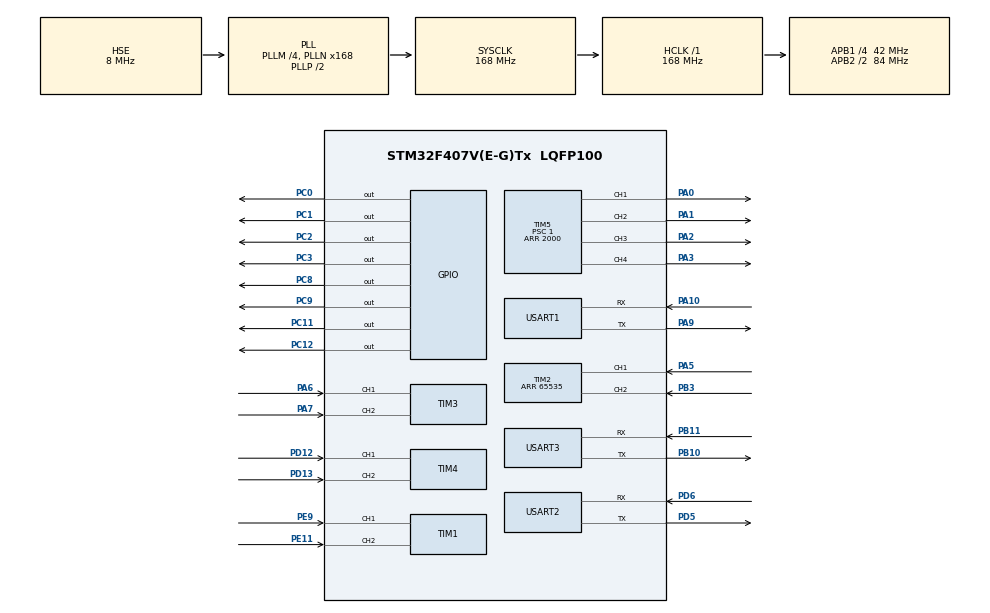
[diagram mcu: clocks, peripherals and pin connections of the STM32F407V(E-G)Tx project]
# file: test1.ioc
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Dma.Request0=USART3_RX
Dma.Request1=USART2_RX
Dma.USART2_RX.1.Direction=DMA_PERIPH_TO_MEMORY
Dma.USART2_RX.1.FIFOMode=DMA_FIFOMODE_DISABLE
Dma.USART2_RX.1.Instance=DMA1_Stream5
Dma.USART2_RX.1.MemDataAlignment=DMA_MDATAALIGN_BYTE
Dma.USART2_RX.1.MemInc=DMA_MINC_ENABLE
Dma.USART2_RX.1.Mode=DMA_NORMAL
Dma.USART2_RX.1.PeriphDataAlignment=DMA_PDATAALIGN_BYTE
Dma.USART2_RX.1.PeriphInc=DMA_PINC_DISABLE
Dma.USART2_RX.1.Priority=DMA_PRIORITY_LOW
Dma.USART3_RX.0.Direction=DMA_PERIPH_TO_MEMORY
Dma.USART3_RX.0.FIFOMode=DMA_FIFOMODE_DISABLE
Dma.USART3_RX.0.Instance=DMA1_Stream1
Dma.USART3_RX.0.MemDataAlignment=DMA_MDATAALIGN_BYTE
Dma.USART3_RX.0.MemInc=DMA_MINC_ENABLE
Dma.USART3_RX.0.Mode=DMA_NORMAL
Dma.USART3_RX.0.PeriphDataAlignment=DMA_PDATAALIGN_BYTE
Dma.USART3_RX.0.PeriphInc=DMA_PINC_DISABLE
Dma.USART3_RX.0.Priority=DMA_PRIORITY_LOW
Mcu.Family=STM32F4
Mcu.Name=STM32F407V(E-G)Tx
Mcu.Package=LQFP100
NVIC.DMA1_Stream1_IRQn=true\:0\:0\:false\:false\:true\:false\:true\:true
NVIC.DMA1_Stream5_IRQn=true\:0\:0\:false\:false\:true\:false\:true\:true
NVIC.PriorityGroup=NVIC_PRIORITYGROUP_4
NVIC.TIM7_IRQn=true\:0\:0\:false\:false\:true\:true\:true\:true
NVIC.USART2_IRQn=true\:0\:0\:false\:false\:true\:true\:true\:true
NVIC.USART3_IRQn=true\:0\:0\:false\:false\:true\:true\:true\:true
PA0-WKUP.Signal=S_TIM5_CH1
PA1.Signal=S_TIM5_CH2
PA10.Mode=Asynchronous
PA10.Signal=USART1_RX
PA2.Signal=S_TIM5_CH3
PA3.Signal=S_TIM5_CH4
PA5.Signal=S_TIM2_CH1_ETR
PA6.Signal=S_TIM3_CH1
PA7.Signal=S_TIM3_CH2
PA9.Mode=Asynchronous
PA9.Signal=USART1_TX
PB10.Mode=Asynchronous
PB10.Signal=USART3_TX
PB11.Mode=Asynchronous
PB11.Signal=USART3_RX
PB3.Signal=S_TIM2_CH2
PC0.GPIO_ModeDefaultOutputPP=GPIO_MODE_OUTPUT_OD
PC0.GPIO_PuPd=GPIO_NOPULL
PC0.Signal=GPIO_Output
PC1.GPIO_ModeDefaultOutputPP=GPIO_MODE_OUTPUT_OD
PC1.GPIO_PuPd=GPIO_NOPULL
PC1.Signal=GPIO_Output
PC11.GPIO_ModeDefaultOutputPP=GPIO_MODE_OUTPUT_OD
PC11.GPIO_PuPd=GPIO_NOPULL
PC11.Signal=GPIO_Output
PC12.GPIO_ModeDefaultOutputPP=GPIO_MODE_OUTPUT_OD
PC12.GPIO_PuPd=GPIO_NOPULL
PC12.Signal=GPIO_Output
PC2.GPIO_ModeDefaultOutputPP=GPIO_MODE_OUTPUT_OD
PC2.GPIO_PuPd=GPIO_NOPULL
PC2.Signal=GPIO_Output
PC3.GPIO_ModeDefaultOutputPP=GPIO_MODE_OUTPUT_OD
PC3.GPIO_PuPd=GPIO_NOPULL
PC3.Signal=GPIO_Output
PC8.GPIO_ModeDefaultOutputPP=GPIO_MODE_OUTPUT_OD
PC8.GPIO_PuPd=GPIO_NOPULL
PC8.Signal=GPIO_Output
PC9.GPIO_ModeDefaultOutputPP=GPIO_MODE_OUTPUT_OD
PC9.GPIO_PuPd=GPIO_NOPULL
PC9.Signal=GPIO_Output
PD12.Signal=S_TIM4_CH1
PD13.Signal=S_TIM4_CH2
PD5.Mode=Asynchronous
PD5.Signal=USART2_TX
PD6.Mode=Asynchronous
PD6.Signal=USART2_RX
PE11.Signal=S_TIM1_CH2
PE9.Signal=S_TIM1_CH1
PH0-OSC_IN.Mode=HSE-External-Oscillator
PH0-OSC_IN.Signal=RCC_OSC_IN
PH1-OSC_OUT.Mode=HSE-External-Oscillator
PH1-OSC_OUT.Signal=RCC_OSC_OUT
ProjectManager.HeapSize=0x200
ProjectManager.StackSize=0x400
ProjectManager.TargetToolchain=MDK-ARM V5.32
RCC.48MHZClocksFreq_Value=84000000
RCC.AHBFreq_Value=168000000
RCC.APB1CLKDivider=RCC_HCLK_DIV4
RCC.APB1Freq_Value=42000000
RCC.APB1TimFreq_Value=84000000
RCC.APB2CLKDivider=RCC_HCLK_DIV2
RCC.APB2Freq_Value=84000000
RCC.APB2TimFreq_Value=168000000
RCC.CortexFreq_Value=168000000
RCC.HCLKFreq_Value=168000000
RCC.HSE_VALUE=8000000
RCC.HSI_VALUE=16000000
RCC.LSE_VALUE=32768
RCC.PLLM=4
RCC.PLLN=168
RCC.PLLSourceVirtual=RCC_PLLSOURCE_HSE
RCC.SYSCLKFreq_VALUE=168000000
RCC.SYSCLKSource=RCC_SYSCLKSOURCE_PLLCLK
RCC.VCOOutputFreq_Value=336000000
SH.S_TIM1_CH1.0=TIM1_CH1,Encoder_Interface
SH.S_TIM1_CH2.0=TIM1_CH2,Encoder_Interface
SH.S_TIM2_CH1_ETR.0=TIM2_CH1,Encoder_Interface
SH.S_TIM2_CH2.0=TIM2_CH2,Encoder_Interface
SH.S_TIM3_CH1.0=TIM3_CH1,Encoder_Interface
SH.S_TIM3_CH2.0=TIM3_CH2,Encoder_Interface
SH.S_TIM4_CH1.0=TIM4_CH1,Encoder_Interface
SH.S_TIM4_CH2.0=TIM4_CH2,Encoder_Interface
SH.S_TIM5_CH1.0=TIM5_CH1,PWM Generation1 CH1
SH.S_TIM5_CH2.0=TIM5_CH2,PWM Generation2 CH2
SH.S_TIM5_CH3.0=TIM5_CH3,PWM Generation3 CH3
SH.S_TIM5_CH4.0=TIM5_CH4,PWM Generation4 CH4
TIM1.EncoderMode=TIM_ENCODERMODE_TI12
TIM2.EncoderMode=TIM_ENCODERMODE_TI12
TIM2.Period=65535
TIM3.EncoderMode=TIM_ENCODERMODE_TI12
TIM4.EncoderMode=TIM_ENCODERMODE_TI12
TIM5.AutoReloadPreload=TIM_AUTORELOAD_PRELOAD_ENABLE
TIM5.Channel-PWM\ Generation1\ CH1=TIM_CHANNEL_1
TIM5.Channel-PWM\ Generation2\ CH2=TIM_CHANNEL_2
TIM5.Channel-PWM\ Generation3\ CH3=TIM_CHANNEL_3
TIM5.Channel-PWM\ Generation4\ CH4=TIM_CHANNEL_4
TIM5.Period=2000
TIM5.Prescaler=1
TIM7.AutoReloadPreload=TIM_AUTORELOAD_PRELOAD_ENABLE
TIM7.Period=200
TIM7.Prescaler=8400
USART1.VirtualMode=VM_ASYNC
USART2.VirtualMode=VM_ASYNC
USART3.VirtualMode=VM_ASYNC
VP_TIM7_VS_ClockSourceINT.Mode=Enable_Timer
board=custom

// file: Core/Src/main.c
/* USER CODE BEGIN Header */
/**
 ******************************************************************************
 * @file           : main.c
 * @brief          : Main program body
 ******************************************************************************
 * @attention
 *
 * Copyright (c) 2022 STMicroelectronics.
 * All rights reserved.
 *
 * This software is licensed under terms that can be found in the LICENSE file
 * in the root directory of this software component.
 * If no LICENSE file comes with this software, it is provided AS-IS.
 *
 ******************************************************************************
 */
/* USER CODE END Header */
#include "main.h"
#include "dma.h"
#include "tim.h"
#include "usart.h"
#include "gpio.h"

/* USER CODE BEGIN Includes */
#include <string.h>
#include <stdio.h>
#include "pid.h"
#include "jy62.h"
#include "zigbee_edc24.h"
#include "map.h"
#include "drive.h"
#include "Dijkstra.h"
#include <math.h>
/* USER CODE END Includes */

/* USER CODE BEGIN PV */
int32_t lastCnt[4], curCnt[4], speed[4];
pid speedPid[6];
float coff = 0.4f;

pid zAnglePid;

extern uint8_t jy62_buff[JY62_BUFFSIZE];
extern struct vec acc, angle, vel;
extern uint32_t height;
extern float g;

enum stateValue
{
	running,
	calibrating,
	stop
};
uint8_t state = stop;

extern uint8_t receive_flag;
/* USER CODE END PV */

void SystemClock_Config(void);
/* USER CODE BEGIN PFP */

void setSpeed(uint8_t idx, double speed);

/* USER CODE END PFP */

int main(void)
{

	/* MCU Configuration--------------------------------------------------------*/

	/* Reset of all peripherals, Initializes the Flash interface and the Systick. */
	HAL_Init();

	/* Configure the system clock */
	SystemClock_Config();

	/* Initialize all configured peripherals */
	MX_GPIO_Init();
	MX_DMA_Init();
	MX_TIM1_Init();
	MX_TIM2_Init();
	MX_TIM3_Init();
	MX_TIM4_Init();
	MX_TIM5_Init();
	MX_USART1_UART_Init();
	MX_USART2_UART_Init();
	MX_USART3_UART_Init();
	MX_TIM7_Init();
	/* USER CODE BEGIN 2 */

	HAL_TIM_PWM_Start(&htim5, TIM_CHANNEL_1);
	HAL_TIM_PWM_Start(&htim5, TIM_CHANNEL_2);
	HAL_TIM_PWM_Start(&htim5, TIM_CHANNEL_3);
	HAL_TIM_PWM_Start(&htim5, TIM_CHANNEL_4);
	HAL_TIM_Encoder_Start(&htim2, TIM_CHANNEL_ALL);
	HAL_TIM_Encoder_Start(&htim3, TIM_CHANNEL_ALL);
	HAL_TIM_Encoder_Start(&htim4, TIM_CHANNEL_ALL);
	HAL_TIM_Encoder_Start(&htim1, TIM_CHANNEL_ALL);

	HAL_TIM_Base_Start_IT(&htim7);

	HAL_UARTEx_ReceiveToIdle_DMA(&huart3, jy62_buff, JY62_BUFFSIZE);

	state = calibrating;
	jy62_init(&huart3);
	// calibrate();
	HAL_Delay(500);
	initAngle();
	HAL_Delay(500);
	state = running;

	pid_init(&speedPid[0], 1.0f, 0.05f, 0.0f);
	pid_init(&speedPid[1], 1.0f, 0.05f, 0.0f);
	pid_init(&speedPid[2], 1.0f, 0.05f, 0.0f);
	pid_init(&speedPid[3], 1.0f, 0.05f, 0.0f);
	// speedPid[0].goal=10;
	// speedPid[1].goal=10;
	// speedPid[2].goal=10;
	// speedPid[3].goal=10;

	pid_init(&zAnglePid, 1.1f, 0.04f, 0.01f);
	zAnglePid.goal = 0;
	u1_printf("hello");

	zigbee_Init(&huart2);

	/* USER CODE END 2 */

	/* Infinite loop */
	/* USER CODE BEGIN WHILE */
	uint32_t idx = 0;
	uint8_t built = 0;

	Drive_Init();
	while (1)
	{
		/* USER CODE END WHILE */

		/* USER CODE BEGIN 3 */
		// setSpeed(1,10);
		// setSpeed(2,20);
		// setSpeed(3,30);
		// setSpeed(4,40);
		/*if(idx%200<100){
			setSpeed(3,20);
			setSpeed(1,20);
			setSpeed(2,20);
			setSpeed(4,20);
		}else{
			setSpeed(3,-20);
			setSpeed(1,-20);
			setSpeed(2,-20);
			setSpeed(4,-20);
		}
		idx++;*/
		if (receive_flag)
		{
			// u1_printf("6\n");
			// u1_printf("hello111");
			reqGameInfo();
			// u1_printf("hello222");
			zigbeeMessageRecord();
			// u1_printf("hello333");
			if (!built)
			{
				Barrier_edc24 b = getOneBarrier(0);
				Position_edc24 tmppos = getVehiclePos();
				if (b.pos_1.x != 0 && b.pos_1.y != 0 && b.pos_2.x != 0 && b.pos_2.y != 0 && tmppos.x != 0)
				{
					built = 1;
					BuildMap();
					// Set_Charge_Pile();

					u1_printf("built:%d, %d", tmppos.x, tmppos.y);
					HAL_Delay(1000);

					// uint16_t curNode=Get_Nearby_Node(tmppos.x, tmppos.y);
				}
			}
		}
		else
		{
		}
		if (built)
		{
			// Drive();
			Go_to(100, 100);
		}
		// Position_edc24 tmppos=getVehiclePos();
		// u1_printf("x:%d, y:%d\n", tmppos.x, tmppos.y);
	}
	/* USER CODE END 3 */
}

void SystemClock_Config(void)
{
	RCC_OscInitTypeDef RCC_OscInitStruct = {0};
	RCC_ClkInitTypeDef RCC_ClkInitStruct = {0};

	/** Configure the main internal regulator output voltage
	 */
	__HAL_RCC_PWR_CLK_ENABLE();
	__HAL_PWR_VOLTAGESCALING_CONFIG(PWR_REGULATOR_VOLTAGE_SCALE1);

	/** Initializes the RCC Oscillators according to the specified parameters
	 * in the RCC_OscInitTypeDef structure.
	 */
	RCC_OscInitStruct.OscillatorType = RCC_OSCILLATORTYPE_HSE;
	RCC_OscInitStruct.HSEState = RCC_HSE_ON;
	RCC_OscInitStruct.PLL.PLLState = RCC_PLL_ON;
	RCC_OscInitStruct.PLL.PLLSource = RCC_PLLSOURCE_HSE;
	RCC_OscInitStruct.PLL.PLLM = 4;
	RCC_OscInitStruct.PLL.PLLN = 168;
	RCC_OscInitStruct.PLL.PLLP = RCC_PLLP_DIV2;
	RCC_OscInitStruct.PLL.PLLQ = 4;
	if (HAL_RCC_OscConfig(&RCC_OscInitStruct) != HAL_OK)
	{
		Error_Handler();
	}

	/** Initializes the CPU, AHB and APB buses clocks
	 */
	RCC_ClkInitStruct.ClockType = RCC_CLOCKTYPE_HCLK | RCC_CLOCKTYPE_SYSCLK | RCC_CLOCKTYPE_PCLK1 | RCC_CLOCKTYPE_PCLK2;
	RCC_ClkInitStruct.SYSCLKSource = RCC_SYSCLKSOURCE_PLLCLK;
	RCC_ClkInitStruct.AHBCLKDivider = RCC_SYSCLK_DIV1;
	RCC_ClkInitStruct.APB1CLKDivider = RCC_HCLK_DIV4;
	RCC_ClkInitStruct.APB2CLKDivider = RCC_HCLK_DIV2;

	if (HAL_RCC_ClockConfig(&RCC_ClkInitStruct, FLASH_LATENCY_5) != HAL_OK)
	{
		Error_Handler();
	}
}

/* USER CODE BEGIN 4 */
void setSpeed(uint8_t idx, double speed)
{
	if (idx == 1)
	{
		if (speed > 0)
		{
			HAL_GPIO_WritePin(GPIOC, GPIO_PIN_2, 1);
			HAL_GPIO_WritePin(GPIOC, GPIO_PIN_3, 0);
		}
		else
		{
			HAL_GPIO_WritePin(GPIOC, GPIO_PIN_2, 0);
			HAL_GPIO_WritePin(GPIOC, GPIO_PIN_3, 1);
			speed = -speed;
		}
		__HAL_TIM_SetCompare(&htim5, TIM_CHANNEL_1, 2000 * speed / 100);
	}
	else if (idx == 2)
	{
		if (speed > 0)
		{
			HAL_GPIO_WritePin(GPIOC, GPIO_PIN_0, 1);
			HAL_GPIO_WritePin(GPIOC, GPIO_PIN_1, 0);
		}
		else
		{
			HAL_GPIO_WritePin(GPIOC, GPIO_PIN_0, 0);
			HAL_GPIO_WritePin(GPIOC, GPIO_PIN_1, 1);
			speed = -speed;
		}
		__HAL_TIM_SetCompare(&htim5, TIM_CHANNEL_2, 2000 * speed / 100);
	}
	else if (idx == 3)
	{
		if (speed > 0)
		{
			HAL_GPIO_WritePin(GPIOC, GPIO_PIN_8, 0);
			HAL_GPIO_WritePin(GPIOC, GPIO_PIN_9, 1);
		}
		else
		{
			HAL_GPIO_WritePin(GPIOC, GPIO_PIN_8, 1);
			HAL_GPIO_WritePin(GPIOC, GPIO_PIN_9, 0);
			speed = -speed;
		}
		__HAL_TIM_SetCompare(&htim5, TIM_CHANNEL_3, 2000 * speed / 100);
	}
	else if (idx == 4)
	{
		if (speed > 0)
		{
			HAL_GPIO_WritePin(GPIOC, GPIO_PIN_11, 0);
			HAL_GPIO_WritePin(GPIOC, GPIO_PIN_12, 1);
		}
		else
		{
			HAL_GPIO_WritePin(GPIOC, GPIO_PIN_11, 1);
			HAL_GPIO_WritePin(GPIOC, GPIO_PIN_12, 0);
			speed = -speed;
		}
		__HAL_TIM_SetCompare(&htim5, TIM_CHANNEL_4, 2000 * speed / 100);
	}
}

void HAL_TIM_PeriodElapsedCallback(TIM_HandleTypeDef *htim)
{
	if (htim->Instance == TIM7)
	{
		float vx = drive_velocity_x_goal;
		float vy = drive_velocity_y_goal;
		// zAnglePid.goal = drive_angle_goal;
		zAnglePid.goal = 0;
		if (zAnglePid.goal < -180.0f)
			zAnglePid.goal = 180;
		if (zAnglePid.goal > 180.0f)
			zAnglePid.goal = -180;

		float zAngleErr = angle.z - zAnglePid.goal;
		if (zAngleErr > 180.0f)
			zAngleErr -= 360.0f;
		if (zAngleErr < -180.0f)
			zAngleErr += 360.0f;

		double zAngleTht = pid_calculate(&zAnglePid, zAnglePid.goal + zAngleErr);
		if (zAngleTht > 40)
			zAngleTht = 40.0f;
		if (zAngleTht < -40)
			zAngleTht = -40.0f;

		// zAngleTht =0;

		speedPid[0].goal = -zAngleTht + vx + vy;
		speedPid[1].goal = -zAngleTht - vx + vy;
		speedPid[2].goal = zAngleTht + vx + vy;
		speedPid[3].goal = zAngleTht - vx + vy;

		int32_t tmp;
		tmp = __HAL_TIM_GET_COUNTER(&htim1);
		if (tmp >= 32768)
			tmp -= 65536;
		speed[0] = coff * (float)tmp + (1 - coff) * speed[0];

		tmp = __HAL_TIM_GET_COUNTER(&htim2);
		if (tmp >= 32768)
			tmp -= 65536;
		speed[1] = coff * (float)tmp + (1 - coff) * speed[1];

		tmp = __HAL_TIM_GET_COUNTER(&htim3);
		if (tmp >= 32768)
			tmp -= 65536;
		speed[2] = coff * (float)tmp + (1 - coff) * speed[2];

		tmp = __HAL_TIM_GET_COUNTER(&htim4);
		if (tmp >= 32768)
			tmp -= 65536;
		speed[3] = coff * (float)tmp + (1 - coff) * speed[3];

		for (uint8_t i = 0; i < 4; ++i)
		{
			if (speed[i] >= 32768)
				speed[i] -= 65536;
		}

		__HAL_TIM_SetCounter(&htim1, 0);
		__HAL_TIM_SetCounter(&htim2, 0);
		__HAL_TIM_SetCounter(&htim3, 0);
		__HAL_TIM_SetCounter(&htim4, 0);

		/*
		for(uint8_t i=0;i<4;++i){
			speed[i]=curCnt[i]-lastCnt[i];
			//if(i==2) speed[i]=-speed[1];
			lastCnt[i]=curCnt[i];
		}*/

		double tht1 = pid_calculate(&speedPid[0], -(float)speed[2]);
		double tht2 = pid_calculate(&speedPid[1], (float)speed[1]);
		double tht3 = pid_calculate(&speedPid[2], (float)speed[3]);
		double tht4 = pid_calculate(&speedPid[3], -(float)speed[0]);

		if (tht1 > 70)
			tht1 = 70;
		if (tht1 < -70)
			tht1 = -70;
		setSpeed(1, -tht1);

		if (tht2 > 70)
			tht2 = 70;
		if (tht2 < -70)
			tht2 = -70;
		setSpeed(2, -tht2);

		if (tht3 > 70)
			tht3 = 70;
		if (tht3 < -70)
			tht3 = -70;
		setSpeed(3, -tht3);

		if (tht4 > 70)
			tht4 = 70;
		if (tht4 < -70)
			tht4 = -70;
		setSpeed(4, -tht4);
	}
}

void HAL_UARTEx_RxEventCallback(UART_HandleTypeDef *huart, uint16_t Size)
{
	{
		if (huart->Instance == USART2)
		{
			// from zigbee_edc24
			receive_flag = 1;
		}
		else if (huart->Instance == USART3)
		{
			// from jy62

			// printf("%d\n", Size);
			// HAL_UART_Transmit(&huart1,buff,Size,0xFFFFFFFFU);
			// float pit;

			int idx = 0;
			int i = 0;
			while (idx < Size)
			{
				while (jy62_buff[idx] != 0x55)
					++idx;
				uint8_t sum = 0;
				for (i = 0; i < 10; ++i)
					sum += jy62_buff[idx + i];
				if (sum == jy62_buff[idx + 10])
				{
					if (jy62_buff[idx + 1] == 0x51)
					{
						int16_t tmp1, tmp2;
						tmp1 = jy62_buff[idx + 3], tmp2 = jy62_buff[idx + 2];
						acc.x = (float)((tmp1 << 8) + tmp2) * 16.0 * g / 32768.0;
						tmp1 = jy62_buff[idx + 5], tmp2 = jy62_buff[idx + 4];
						acc.y = (float)((tmp1 << 8) + tmp2) * 16.0 * g / 32768.0;
						tmp1 = jy62_buff[idx + 7], tmp2 = jy62_buff[idx + 6];
						acc.z = (float)((tmp1 << 8) + tmp2) * 16.0 * g / 32768.0;

						if (acc.x >= 16 * g)
							acc.x -= 32 * g;
						if (acc.y >= 16 * g)
							acc.y -= 32 * g;
						if (acc.z >= 16 * g)
							acc.z -= 32 * g;
					}
					else if (jy62_buff[idx + 1] == 0x52)
					{
						vel.x = (float)(((short)jy62_buff[idx + 3] << 8) + (short)jy62_buff[idx + 2]) * 2000.0 / 32768.0;
						vel.y = (float)(((short)jy62_buff[idx + 5] << 8) + (short)jy62_buff[idx + 4]) * 2000.0 / 32768.0;
						vel.z = (float)(((short)jy62_buff[idx + 7] << 8) + (short)jy62_buff[idx + 6]) * 2000.0 / 32768.0;
						if (vel.z > 2000)
							vel.z -= 4000;
					}
					else if (jy62_buff[idx + 1] == 0x53)
					{
						angle.x = (float)(((short)jy62_buff[idx + 3] << 8) + (short)jy62_buff[idx + 2]) * 180.0 / 32768.0;
						angle.y = (float)(((short)jy62_buff[idx + 5] << 8) + (short)jy62_buff[idx + 4]) * 180.0 / 32768.0;
						angle.z = (float)(((short)jy62_buff[idx + 7] << 8) + (short)jy62_buff[idx + 6]) * 180.0 / 32768.0;

						angle.x = angle.x > 180.0 ? angle.x - 360.0 : angle.x;
						angle.y = angle.y > 180.0 ? angle.y - 360.0 : angle.y;
						angle.z = angle.z > 180.0 ? angle.z - 360.0 : angle.z;
					}
					else if (jy62_buff[idx + 1] == 0x56)
					{
						height = ((uint32_t)jy62_buff[idx + 9] << 24) + ((uint32_t)jy62_buff[idx + 8] << 16) + ((uint32_t)jy62_buff[idx + 7] << 8) + (uint32_t)jy62_buff[idx + 6];
					}
					idx += 11;
				}
				else
				{
					idx++;
				}
				HAL_UARTEx_ReceiveToIdle_DMA(&huart3, jy62_buff, 200);
			}
		}
	}
}

/* USER CODE END 4 */

void Error_Handler(void)
{
	__disable_irq();
	while (1)
	{
	}
}
